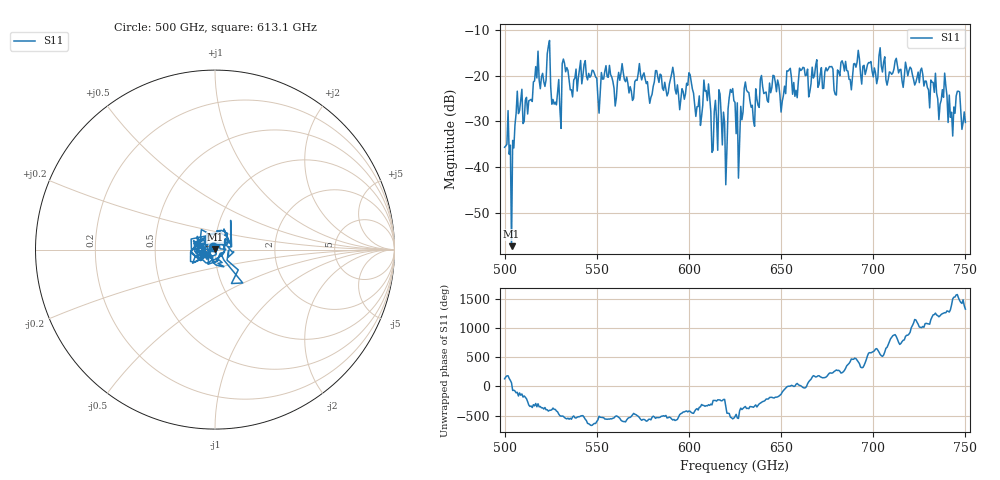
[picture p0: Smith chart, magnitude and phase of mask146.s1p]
!Created with skrf (http://scikit-rf.org).
# GHz S MA R 50.0
!freq magS11 angS11
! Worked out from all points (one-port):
!   401 points, 500 GHz to 750 GHz, reference 50 ohm
!   lowest |S11| = -57.3 dB at 503.8 GHz (marker M1), VSWR 1.00, Z = 50.1 + j0.12 ohm
!   |S11| at or under -10 dB: start of sweep to end of sweep
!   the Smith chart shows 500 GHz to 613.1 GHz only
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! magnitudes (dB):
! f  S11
! 500 GHz  -35.7
! 503.8 GHz  -57.3
! 508.1 GHz  -27.7
! 513.8 GHz  -25.4
! 516.9 GHz  -18.1
! 523.8 GHz  -13.6
! 526.9 GHz  -26.3
! 531.2 GHz  -17.4
! 532.5 GHz  -17.3
! 550.6 GHz  -24.8
! 562.5 GHz  -21.0
! 593.8 GHz  -22.1
! 600 GHz  -19.4
! 605.6 GHz  -24.5
! 609.4 GHz  -23.3
! 612.5 GHz  -36.8
! 617.5 GHz  -28.5
! 619.4 GHz  -30.4
! 622.5 GHz  -23.1
! 625 GHz  -25.9
! 626.9 GHz  -42.5
! 631.2 GHz  -23.2
! 634.4 GHz  -26.5
! 640 GHz  -22.4
! 656.2 GHz  -24.1
! 687.5 GHz  -20.9
! 718.8 GHz  -20.1
! 750 GHz  -30.3
